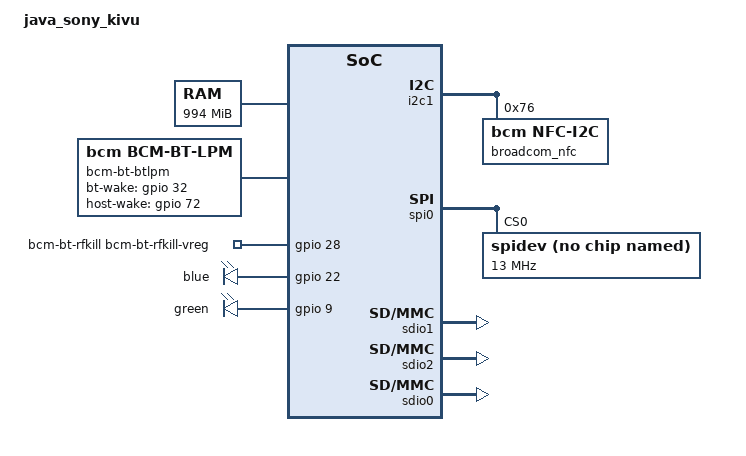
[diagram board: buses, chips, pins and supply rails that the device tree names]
/* java_sony_kivu dts file */

/dts-v1/;

/include/ "java.dtsi"
/include/ "java_sony_bcmpmu_kivu.dtsi"

/ {
	model = "java_sony_kivu";
	compatible = "bcm,java";

	chosen {
		bootargs = "console=ttyS0,115200n8 mem=994M gpt androidboot.console=ttyS0 crash_ramdump=1 logbuf_nocache=1 vmalloc=136M";
	};

	memory@81e00000 {
		device_type = "memory";
		reg = <0x81e00000 0x3e200000>; /* 994 MB */
	};

	wd-tapper {
		count = <300>; /* Time in seconds */
		ch-num = <1>; /* Kona hub timer Channel number */
		timer-name = "aon-timer";
	};

	usb-phy@0x3F130000 {
		interrupts = <0 128 0x04>;
		chipreg-virtual-mem-base = <0x35004000>;
		usb-ahb-clk-name = "usb_otg_clk";
		mdio-mstr-clk-name = "mdiomaster";
	};
	usb-hsotgctrl@0x3F130000 {
		chipreg-virtual-mem-base = <0x35004000>;
		usb-ahb-clk-name = "usb_otg_clk";
		mdio-mstr-clk-name = "mdiomaster";
	};


	uart@3e000000 {
		clock-frequency = <26000000>;
		port-name = "console";
		clk-name = "uartb_clk";
	};

	uart@3e001000 {
		clock-frequency = <48000000>;
		port-name = "bluetooth";
		clk-name = "uartb2_clk";
	};

	uart@3e002000 {
		clock-frequency = <26000000>;
		port-name = "gps";
		clk-name = "uartb3_clk";
		/*If power-save-enable is set Change
		* PADCTRL_UBRTSN from UART3_RTSN to
		* UBRTSN (Debug UART) when GPS is inactive.*/
		power-save-enable = <1>;

	};

	i2c0: i2c@3e016000 {
		speed = <5>; /* BSC_BUS_SPEED_400 K */
		dynamic-speed = <1>;
		bsc-clk = "bsc1_clk";
		bsc-apb-clk = "bsc1_apb_clk";
		retries = <1>;
		is-pmu-i2c = <0>;
		fs-ref-frequency = <13000000>;
		hs-ref-frequency = <104000000>;
	};

	i2c1: i2c@3e017000 {
		speed = <5>; /* BSC_BUS_SPEED_400 K */
		dynamic-speed = <1>;
		bsc-clk = "bsc2_clk";
		bsc-apb-clk = "bsc2_apb_clk";
		retries = <3>;
		is-pmu-i2c = <0>;
		fs-ref-frequency = <13000000>;
		hs-ref-frequency = <104000000>;

		broadcom_nfc@76 {
			compatible = "bcm,nfc-i2c";
			reg = <0x76>;
			wake_gpio = <25>;
			en_gpio = <100>;
			irq_gpio = <43>;
			enable_txfifo = <1>;
			enable_rxfifo = <1>;
		};

	};

	i2c2: i2c@3e018000 {
		speed = <5>; /* BSC_BUS_SPEED_400 K */
		dynamic-speed = <1>;
		bsc-clk = "bsc3_clk";
		bsc-apb-clk = "bsc3_apb_clk";
		retries = <1>;
		is-pmu-i2c = <0>;
		fs-ref-frequency = <13000000>;
		hs-ref-frequency = <104000000>;
	};

	i2c3: i2c@3e01c000 {
		speed = <5>; /* BSC_BUS_SPEED_400 K */
		dynamic-speed = <1>;
		bsc-clk = "bsc4_clk";
		bsc-apb-clk = "bsc4_apb_clk";
		retries = <1>;
		is-pmu-i2c = <0>;
		fs-ref-frequency = <13000000>;
		hs-ref-frequency = <104000000>;
	};

	i2c4: i2c@3500d000 {
		speed = <7>; /* BSC_BUS_SPEED_HS */
		dynamic-speed = <0>;
		bsc-clk = "pmu_bsc_clk";
		bsc-apb-clk = "pmu_bsc_apb";
		retries = <5>;
		is-pmu-i2c = <1>;
		fs-ref-frequency = <13000000>;
		hs-ref-frequency = <26000000>;
	};

	spi0: spi@0x3E004000 {
		enable-dma = <1>;
		cs-line = <1>;
		mode = <0x23>;

		spidev@0x0 {
			compatible = "bcm,spidev";
			reg = <0x0>;
			spi-max-frequency = <13000000>;
			spi-loop = <0x20>;
		};
	};


        bcm-bt-btlpm {
                compatible = "bcm,bcm-bt-lpm";
                bt-wake-gpio = <&gpio 32 0>;
                host-wake-gpio = <&gpio 72 0>;
        };

        bcm-bt-rfkill {
                compatible = "bcm,bcm-bt-rfkill";
                bcm-bt-rfkill-vreg-gpio = <&gpio 28 0>;
        };

	iommu_mm: iommu-mm {
		compatible = "bcm,iommu-m4u";
		iova_begin  = <0x80000000>;
		iova_size   = <0x80000000>;
		errbuf_size = <0x00001000>;
		skip_enable = <1>;
	};

	iovmm_mm: iovmm-mm {
		compatible = "bcm,iovmm";
		base = <0x80000000>;
		size = <0x70000000>;
		order = <0>;
	};

	iovmm_mm_256mb: iovmm-mm-256mb {
		compatible = "bcm,iovmm";
		base = <0xf0000000>;
		size = <0x0ff00000>;
		order = <0>;
	};

	ion-config {
		compatible = "bcm,ion-config";
		/* No separate mask needed for hwwr if M4U is enabled */
		mask_hwwr = <0>;
	};

	ion-system {
		compatible = "bcm,ion";
		id = <0>;
		type = <0>;
		iommu = <&iommu_mm>;
		iovmm = <&iovmm_mm_256mb>;
	};

	ion-system-extra {
		compatible = "bcm,ion";
		id = <1>;
		type = <0>;
		iommu = <&iommu_mm>;
		iovmm = <&iovmm_mm>;
	};

	ion-carveout {
		compatible = "bcm,ion";
		id = <9>;
		type = <2>;
		base  = <0x90000000>;
		limit = <0xa0000000>;
		size  = <0x01000000>;
		lmk_enable = <0>;
		lmk_min_score_adj = <411>;
		lmk_min_free = <32>;
		iommu = <&iommu_mm>;
		iovmm = <&iovmm_mm_256mb>;
	};

	ion-cma {
		compatible = "bcm,ion";
		id = <5>;
		type = <4>;
		base  = <0x90000000>;
		limit = <0xa0000000>;
		size  = <0x00000000>;
		lmk_enable = <1>;
		lmk_min_score_adj = <411>;
		lmk_min_free = <32>;
		iommu = <&iommu_mm>;
		iovmm = <&iovmm_mm_256mb>;
	};

	soc-back-camera {
		compatible = "bcm,soc-camera";
		reg = <0x36 0x0>;
		bus-id = <0>;
		i2c-type = "ov5648";
		i2c-addr = <0x36>;
		i2c-adapter-id = <0>;
		module-name = "ov5648";
		if-type = <1>;
		if-mode = <3>;
		orientation = <1>;
		facing = <1>;
		lanes = <2>;
		channel = <0>;
		phy-rate = <0>;
		pix-clk = <0>;
		regulators = "lvldo1_uc", "mmc1_vcc", "mmc2_vcc", "lvldo2_uc";
	};

	kona-fb {
		module-name = "S6D04K2X01";
		reg-name = "cam2";
		rst-gpio = <&gpio 8 0>;
		detect-gpio = <&gpio 10 0>;
		detect-gpio-val = <0>;
		rst-setup = <1000>;
		rst-pulse = <10000>;
		rst-hold = <10000>;
		/* rst-active-high; */	/* Commented => Active Low */
		col-mod-i = <2>;
		col-mod-o = <2>;
		width = <220>;   /*old 280, 176 */
		height = <176>;
		/* vmode; */
		/* vburst; */	/* Non-burst mode */
		te-ctrl;		/* Tearing Effect Control enabled */
		fps = <60>;
		lanes = <1>;
		/*cmnd-LP;		 Commands in LP mode*/
		hs-bitrate = <150000000>;	/* bps */
		lp-bitrate =   <8000000>;	/* bps */
		desense-offset = <2400000>;  /* +2.4Mbps */
		iommu = <&iommu_mm>;
		iovmm = <&iovmm_mm>;
		rotation = <0>;
	};

	tmon@0x34008000 {
		compatible = "bcm,tmon";
		reg = <0x34008000 0x1000>;
		interrupts = <0 183 4>;
		chipreg_addr = <0x35004000 0x1000>;
		thold_size = <8>; /*number of threshold levels*/
		poll_rate_ms = <30000>;
		hysteresis = <0>;
		flags = <5>;
		interval_ms = <8>;
		/*sw shdwn temp is 120*/
		thold = <55 1
			58 1
			63 1
			65 1
			70 1
			80 1
			115 4
			120 2>;
		tmon_apb_clk = "tmon_apb";
		tmon_1m_clk = "tmon_1m_clk";
		falling = <5>; /*fall back temperature offset*/
	};

	memc@35008000 {
		compatible = "bcm,memc";
		reg = <0x35008000 0x1000>;
		interrupts = <0 61 4>;
		flags = <0xF3>;
		chipreg_base = <0x35004000 0x1000>;
		memc0_aphy_base = <0x35008400 0x1000>;
		seq_busy_val = <2>;
		max_pwr = <3>;
		temp_period = <0xA09E6C>; /*400ms*/
		temp_tholds = <7 1>;
		num_thold = <1>;
		pll_freq = <0 0 0 0
				0x3D 0 1 0
				0x50 0 1 0>;
	};

	sdio1 {
		compatible = "bcm,sdhci";
		reg = <0x3F190000 10000>;
		interrupts = <0 76 0x04>;
		id = <1>;
		data-pullup = <0>;
		is-8bit = <1>;
		devtype = <2>;		/*SDIO_DEV_TYPE_EMMC*/
		flags = <3>;		/*NON_REMOVABLE | RPM_EN*/
		pm_caps = <1>;		/*MMC_PM_KEEP_POWER*/
		peri-clk-name = "sdio2_clk";
		ahb-clk-name = "sdio2_ahb_clk";
		sleep-clk-name = "sdio2_sleep_clk";
		peri-clk-rate = <52000000>;
		vddsdmmc-regulator-name = "cam1";
	};

	sdio2 {
		compatible = "bcm,sdhci";
		reg = <0x3F1A0000 10000>;
		interrupts = <0 74 0x04>;
		id = <2>;
		data-pullup = <0>;
		devtype = <1>;		/*SDIO_DEV_TYPE_WIFI*/
		flags = <2>;		/*REMOVABLE | RPM_EN*/
		peri-clk-name = "sdio3_clk";
		ahb-clk-name = "sdio3_ahb_clk";
		sleep-clk-name = "sdio3_sleep_clk";
		peri-clk-rate = <48000000>;
	};

	sdio0 {
		compatible = "bcm,sdhci";
		reg = <0x3F180000 10000>;
		interrupts = <0 77 0x04>;
		id = <0>;
		data-pullup = <0>;
		cd-gpio = <&gpio 91 0>;		/*SD_CARDDET_GPIO_PIN*/
		devtype = <0>;		/*SDIO_DEV_TYPE_SDMMC*/
		flags = <2>;		/*REMOVABLE | RPM_EN*/
		peri-clk-name = "sdio1_clk";
		ahb-clk-name = "sdio1_ahb_clk";
		sleep-clk-name = "sdio1_sleep_clk";
		peri-clk-rate = <48000000>;
		vddo-regulator-name = "vdd_sdio";
		vddsdxc-regulator-name = "vdd_sdxc";
	};

	timer {
		compatible = "arm,armv7-timer";
		interrupts = <1 13 0xf08>,
					<1 14 0xf08>;
	};

	wifi-driver {
		compatible = "bcm,bcm_wifi";
		wl-reset-gpio = <3>;
		host-wake-gpio = <74>;
		board-nvram-file = "/system/vendor/firmware/fw_wifi_nvram_43341.txt";
		module-name = "bcmdhd_4330";
	};

	keypad {
		row-num = <2>;
		col-num = <3>;
		row-col-count = <8>;
		key-name = "Vol Down Key", "Vol Up Key", "unused", "unused",
			"unused", "unused", "unused", "unused", "Camera Focus Key",
			"Camera Key", "unused", "unused", "unused", "unused",
			"unused", "unused", "unused", "unused", "unused",
			"unused", "unused", "unused", "unused", "unused",
			"unused", "unused", "unused", "unused", "unused",
			"unused", "unused", "unused", "unused", "unused",
			"unused", "unused", "unused", "unused", "unused",
			"unused", "unused", "unused", "unused", "unused",
			"unused", "unused", "unused", "unused", "unused",
			"unused", "unused", "unused", "unused", "unused",
			"unused", "unused", "unused", "unused", "unused",
			"unused", "unused", "unused", "unused", "unused";
		key-code = <114 115 0 0 0 0 0 0
			528 212 0 0 0 0 0 0
			0 0 0 0 0 0 0 0
			0 0 0 0 0 0 0 0
			0 0 0 0 0 0 0 0
			0 0 0 0 0 0 0 0
			0 0 0 0 0 0 0 0
			0 0 0 0 0 0 0 0>;
	};

	pwm-backlight {
		compatible = "bcm,pwm-backlight";
		reg = <0x0 0x0>;
		pwm-id = <2>;
		max-brightness = <32>;	/* Android calibrates to 32 levels */
		dft-brightness = <32>;
		polarity = <1>;		/* Inverted polarity */
		pwm-period-ns = <99900>; /* ~10010 Hz */
		temp_comp_size = <3>;
		temp_comp_tbl = <55 20
				63 18
				70 15>;
		pwm-request-label = "backlight";
		bl-on-delay = <7000>;
		pwm_pin_name = <39>;	/*GPIO24, enum PIN_NAME defined in chip_pinmux.h*/
		pwm_pin_reboot_func = <25>;	/*GPIO24, enum PIN_FUNC defined in chip_pinmux.h*/
	};

	gpio-leds {
		compatible = "gpio-leds";

		blue {
			label = "blue";
			gpios = <&gpio 22 0>;
		};

		green {
			label = "green";
			gpios = <&gpio 9 0>;
		};
	};

	secure_mem {
		sec-mem-base = <0x9d800000>;
		sec-mem-size = <0x100000>;
	};

};
